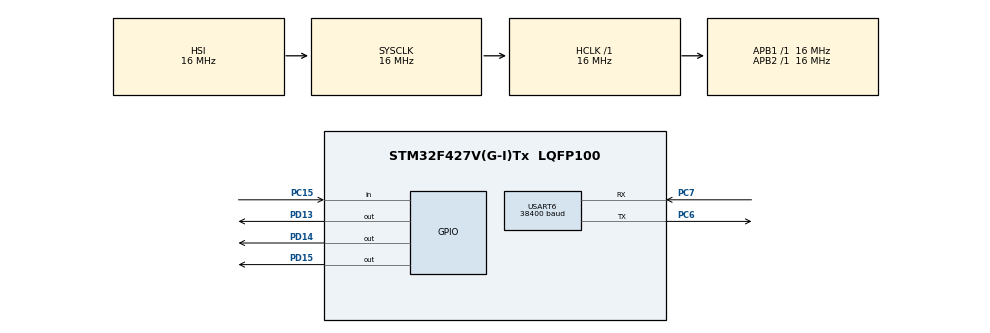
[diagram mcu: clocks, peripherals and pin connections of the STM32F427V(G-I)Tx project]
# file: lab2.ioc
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Mcu.Family=STM32F4
Mcu.Name=STM32F427V(G-I)Tx
Mcu.Package=LQFP100
NVIC.PriorityGroup=NVIC_PRIORITYGROUP_4
NVIC.USART6_IRQn=true\:0\:0\:false\:false\:true\:true\:true\:true
PC15/OSC32_OUT.Signal=GPIO_Input
PC6.Mode=Asynchronous
PC6.Signal=USART6_TX
PC7.Mode=Asynchronous
PC7.Signal=USART6_RX
PD13.Signal=GPIO_Output
PD14.Signal=GPIO_Output
PD15.Signal=GPIO_Output
ProjectManager.HeapSize=0x200
ProjectManager.StackSize=0x400
ProjectManager.TargetToolchain=STM32CubeIDE
RCC.AHBFreq_Value=16000000
RCC.APB1Freq_Value=16000000
RCC.APB2Freq_Value=16000000
RCC.CortexFreq_Value=16000000
RCC.HSE_VALUE=25000000
RCC.HSI_VALUE=16000000
RCC.LSE_VALUE=32768
RCC.SYSCLKFreq_VALUE=16000000
RCC.VCOOutputFreq_Value=192000000
USART6.BaudRate=38400
USART6.VirtualMode=VM_ASYNC
board=custom

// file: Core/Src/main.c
/* USER CODE BEGIN Header */
/**
  ******************************************************************************
  * @file           : main.c
  * @brief          : Main program body
  ******************************************************************************
  * @attention
  *
  * Copyright (c) 2025 STMicroelectronics.
  * All rights reserved.
  *
  * This software is licensed under terms that can be found in the LICENSE file
  * in the root directory of this software component.
  * If no LICENSE file comes with this software, it is provided AS-IS.
  *
  ******************************************************************************
  */
/* USER CODE END Header */
#include "main.h"
#include "usart.h"
#include "gpio.h"

/* USER CODE BEGIN Includes */
#include "led_driver.h"
#include "button_driver.h"
#include "usart_drv.h"
#include "stm32f4xx_hal.h"
#include <string.h>
#include <stdio.h>
#include <stdlib.h>
/* USER CODE END Includes */

/* USER CODE BEGIN PTD */
typedef struct {
    uint8_t seq[8]; // последовательность битов: 0->none, 1->g,2->r,4->y (только 1 бит установлен)
    uint8_t len;
    uint32_t period_ms;
} seq_t;
/* USER CODE END PTD */

/* USER CODE BEGIN PD */
#define MAX_PRESET 8
#define CMD_BUF_SZ 64
/* USER CODE END PD */

/* USER CODE BEGIN PV */
 static seq_t presets[MAX_PRESET+1]; // индекс 1..8
 static int active_seq = 1;
 static uint8_t seq_index[9]; // позиция в каждой seq
 static int next_user_slot = 5; // куда сохранять new (5..8 cyclic)
 static int total_presets = 4;

 static bool awaiting_period = false;
 static char pending_seq[8];
 static int pending_len = 0;

 static char linebuf[CMD_BUF_SZ];
 static int linepos = 0;
/* USER CODE END PV */

void SystemClock_Config(void);

/* USER CODE BEGIN 0 */
static uint8_t char_to_mask(char c)
{
    if(c == 'g' || c == 'G') return 0x1;
    if(c == 'y' || c == 'Y') return 0x2;
    if(c == 'r' || c == 'R') return 0x4;
    return 0x0;
}

/* инициализация предустановленных 1..4 */
static void init_presets_defaults(void)
{
    presets[1].len = 3; presets[1].seq[0]=0x1; presets[1].seq[1]=0x2; presets[1].seq[2]=0x4; presets[1].period_ms=300;
    presets[2].len = 2; presets[2].seq[0]=0x1; presets[2].seq[1]=0x1|0x2; presets[2].period_ms=500;
    presets[3].len = 3; presets[3].seq[0]=0x2; presets[3].seq[1]=0x4; presets[3].seq[2]=0x0; presets[3].period_ms=200;
    presets[4].len = 5; presets[4].seq[0]=0x1; presets[4].seq[1]=0x2; presets[4].seq[2]=0x1; presets[4].seq[3]=0x4; presets[4].seq[4]=0x0; presets[4].period_ms=150;
}

static void uart_println(const char *s) { USART_DRV_TxStr(s); USART_DRV_TxStr("\n"); }

/* Командный буфер */
#define CMD_BUF_SZ 64

/* обработка готовой команды (строки без \r\n) */
static void process_command(const char *cmd)
{
    if(strncmp(cmd, "new ", 4) == 0) {
        const char *p = cmd+4;
        char seqchars[8]; int slen = 0;
        while(*p && slen < 8) {
            char c = *p++;
            if(c==' ' || c=='\t') continue;
            if(c=='\r' || c=='\n') break;
            if(c=='g'||c=='r'||c=='y'||c=='n' || c=='G'||c=='R'||c=='Y'||c=='N') {
                seqchars[slen++] = c;
            } else break;
        }
        if(slen < 2) { uart_println("Sequence must be 2..8 symbols (g/r/y/n)"); return; }
        uart_println("Enter period: 1-fast(200),2-medium(500),3-slow(1000)");
        awaiting_period = true;
        memcpy(pending_seq, seqchars, slen);
        pending_len = slen;
        awaiting_period = true;
    } else if(strncmp(cmd, "set interrupts on", 17) == 0) {
        USART_DRV_EnableInterrupts(true);
        uart_println("interrupts on");
    } else if(strncmp(cmd, "set interrupts off", 18) == 0) {
        USART_DRV_EnableInterrupts(false);
        uart_println("interrupts off");
    } else if(strncmp(cmd, "set ", 4) == 0) {
        int idx = atoi(cmd+4);
        if(idx >=1 && idx <= total_presets) {
            active_seq = idx;
            uart_println("ok");
        } else {
            uart_println("invalid index");
        }
    } else {
        uart_println("unknown command");
    }
}
/* USER CODE END 0 */

int main(void)
{

  /* MCU Configuration--------------------------------------------------------*/

  /* Reset of all peripherals, Initializes the Flash interface and the Systick. */
  HAL_Init();

  /* Configure the system clock */
  SystemClock_Config();

  /* Initialize all configured peripherals */
  MX_GPIO_Init();
  MX_USART6_UART_Init();
  /* USER CODE BEGIN 2 */
  LED_Init();
  BUTTON_Init();
  USART_DRV_Init(&huart6);
  USART_DRV_EnableInterrupts(true);
  USART_DRV_SetEcho(true);
  init_presets_defaults();

  uint32_t last_step_time = HAL_GetTick();
  uart_println("welcome!");
  /* USER CODE END 2 */

  /* Infinite loop */
  /* USER CODE BEGIN WHILE */
  while (1)
  {
	BUTTON_Process();
	if(BUTTON_WasPressed()){
	 active_seq++;
	 if(active_seq > 4){
		 if(active_seq > total_presets) active_seq = 1;
	 }
	}

	USART_DRV_PollTx();

	// UART прием
	uint8_t ch;
	while(USART_DRV_PollGetByte(&ch)){
	 if(ch=='\n' || ch=='\r'){
		 linebuf[linepos]=0;
		 if(linepos>0){
			 if(awaiting_period){
				 if(linebuf[0]=='1'||linebuf[0]=='2'||linebuf[0]=='3'){
					 uint32_t period=500;
					 if(linebuf[0]=='1') period=200;
					 if(linebuf[0]=='2') period=500;
					 if(linebuf[0]=='3') period=1000;
					 for(int i=0;i<pending_len;i++) presets[next_user_slot].seq[i]=char_to_mask(pending_seq[i]);
					 presets[next_user_slot].len = pending_len;
					 presets[next_user_slot].period_ms = period;
					 char tmp[32];
					 snprintf(tmp,sizeof(tmp),"saved %d", next_user_slot);
					 uart_println(tmp);

					 if(next_user_slot > total_presets) total_presets = next_user_slot;

					 next_user_slot++;
					 if(next_user_slot > 8) next_user_slot = 5;
					 awaiting_period=false;
				 } else {
					 uart_println("invalid period; enter 1/2/3");
				 }
			 } else {
				 process_command(linebuf);
			 }
		 }
		 linepos=0;
	 } else {
		 if(linepos<(int)sizeof(linebuf)-1) linebuf[linepos++]=(char)ch;
	 }
	}

	// анимация
	uint32_t now = HAL_GetTick();
	if(now - last_step_time >= presets[active_seq].period_ms){
	 last_step_time = now;
	 uint8_t mask = presets[active_seq].seq[ seq_index[active_seq]%presets[active_seq].len ];
	 LED_SetMask(mask);
	 seq_index[active_seq] = (seq_index[active_seq]+1)%presets[active_seq].len;
	}
    /* USER CODE END WHILE */

  }
}

void SystemClock_Config(void)
{
  RCC_OscInitTypeDef RCC_OscInitStruct = {0};
  RCC_ClkInitTypeDef RCC_ClkInitStruct = {0};

  /** Configure the main internal regulator output voltage
  */
  __HAL_RCC_PWR_CLK_ENABLE();
  __HAL_PWR_VOLTAGESCALING_CONFIG(PWR_REGULATOR_VOLTAGE_SCALE3);

  /** Initializes the RCC Oscillators according to the specified parameters
  * in the RCC_OscInitTypeDef structure.
  */
  RCC_OscInitStruct.OscillatorType = RCC_OSCILLATORTYPE_HSI;
  RCC_OscInitStruct.HSIState = RCC_HSI_ON;
  RCC_OscInitStruct.HSICalibrationValue = RCC_HSICALIBRATION_DEFAULT;
  RCC_OscInitStruct.PLL.PLLState = RCC_PLL_NONE;
  if (HAL_RCC_OscConfig(&RCC_OscInitStruct) != HAL_OK)
  {
    Error_Handler();
  }

  /** Initializes the CPU, AHB and APB buses clocks
  */
  RCC_ClkInitStruct.ClockType = RCC_CLOCKTYPE_HCLK|RCC_CLOCKTYPE_SYSCLK
                              |RCC_CLOCKTYPE_PCLK1|RCC_CLOCKTYPE_PCLK2;
  RCC_ClkInitStruct.SYSCLKSource = RCC_SYSCLKSOURCE_HSI;
  RCC_ClkInitStruct.AHBCLKDivider = RCC_SYSCLK_DIV1;
  RCC_ClkInitStruct.APB1CLKDivider = RCC_HCLK_DIV1;
  RCC_ClkInitStruct.APB2CLKDivider = RCC_HCLK_DIV1;

  if (HAL_RCC_ClockConfig(&RCC_ClkInitStruct, FLASH_LATENCY_0) != HAL_OK)
  {
    Error_Handler();
  }
}

void Error_Handler(void)
{
  __disable_irq();
  while (1)
  {
  }
}
